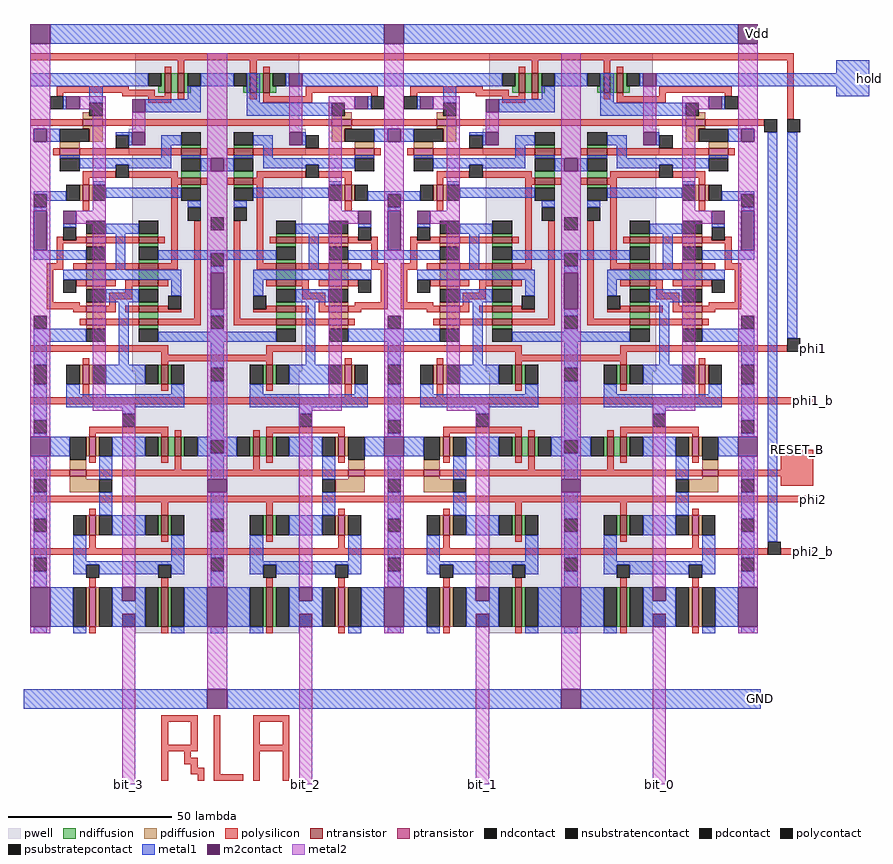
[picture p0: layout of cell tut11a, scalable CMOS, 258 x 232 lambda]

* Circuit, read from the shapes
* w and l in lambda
.subckt tut11a GND RESET_B Vdd bit_0 bit_1 bit_2 bit_3 hold phi1 phi1_b phi2 phi2_b
M1 n1 bit_3/tut11d_0/A GND GND nfet w=6 l=2
M2 n2 bit_3/tut11d_0/B_b n1 GND nfet w=6 l=2
M3 n3 bit_3 n2 GND nfet w=6 l=2
M4 GND bit_3/tut11d_0/A_b n3 GND nfet w=6 l=2
M5 bit_3/tut11d_0/B_b bit_3 GND GND nfet w=6 l=2
M6 GND n4 bit_3 GND nfet w=12 l=2
M7 n4 phi2 n5 GND nfet w=6 l=2
M8 n6 n7 n5 GND nfet w=6 l=2
M9 n7 phi1 n2 GND nfet w=6 l=2
M10 n8 bit_3 n9 GND nfet w=6 l=2
M11 GND RESET_B n6 GND nfet w=6 l=2
M12 n10 phi1 n8 GND nfet w=6 l=2
M13 GND bit_3/tut11d_0/A_b bit_3/tut11d_0/A GND nfet w=6 l=2
M14 bit_3/tut11d_0/A_b n10 GND GND nfet w=6 l=2
M15 GND bit_2/tut11d_0/A_b bit_2/tut11d_0/A GND nfet w=6 l=2
M16 bit_2/tut11d_0/A_b n11 GND GND nfet w=6 l=2
M17 n12 phi1 n10 GND nfet w=6 l=2
M18 n13 RESET_B GND GND nfet w=6 l=2
M19 n11 bit_2 n12 GND nfet w=6 l=2
M20 bit_2 n14 GND GND nfet w=12 l=2
M21 n15 phi2 n14 GND nfet w=6 l=2
M22 n15 n16 n13 GND nfet w=6 l=2
M23 n17 phi1 n16 GND nfet w=6 l=2
M24 n18 bit_2/tut11d_0/A GND GND nfet w=6 l=2
M25 n17 bit_2/tut11d_0/B_b n18 GND nfet w=6 l=2
M26 n19 bit_2 n17 GND nfet w=6 l=2
M27 GND bit_2/tut11d_0/A_b n19 GND nfet w=6 l=2
M28 bit_2/tut11d_0/B_b bit_2 GND GND nfet w=6 l=2
M29 n20 bit_1/tut11d_0/A GND GND nfet w=6 l=2
M30 n21 bit_1/tut11d_0/B_b n20 GND nfet w=6 l=2
M31 n22 bit_1 n21 GND nfet w=6 l=2
M32 GND bit_1/tut11d_0/A_b n22 GND nfet w=6 l=2
M33 bit_1/tut11d_0/B_b bit_1 GND GND nfet w=6 l=2
M34 GND n23 bit_1 GND nfet w=12 l=2
M35 n23 phi2 n24 GND nfet w=6 l=2
M36 n25 n26 n24 GND nfet w=6 l=2
M37 n26 phi1 n21 GND nfet w=6 l=2
M38 n27 bit_1 n11 GND nfet w=6 l=2
M39 GND RESET_B n25 GND nfet w=6 l=2
M40 n28 phi1 n27 GND nfet w=6 l=2
M41 GND bit_1/tut11d_0/A_b bit_1/tut11d_0/A GND nfet w=6 l=2
M42 bit_1/tut11d_0/A_b n28 GND GND nfet w=6 l=2
M43 GND bit_0/tut11d_0/A_b bit_0/tut11d_0/A GND nfet w=6 l=2
M44 bit_0/tut11d_0/A_b hold GND GND nfet w=6 l=2
M45 n29 phi1 n28 GND nfet w=6 l=2
M46 n30 RESET_B GND GND nfet w=6 l=2
M47 hold bit_0 n29 GND nfet w=6 l=2
M48 bit_0 n31 GND GND nfet w=12 l=2
M49 n32 phi2 n31 GND nfet w=6 l=2
M50 n32 n33 n30 GND nfet w=6 l=2
M51 n34 phi1 n33 GND nfet w=6 l=2
M52 n35 bit_0/tut11d_0/A GND GND nfet w=6 l=2
M53 n34 bit_0/tut11d_0/B_b n35 GND nfet w=6 l=2
M54 n36 bit_0 n34 GND nfet w=6 l=2
M55 GND bit_0/tut11d_0/A_b n36 GND nfet w=6 l=2
M56 bit_0/tut11d_0/B_b bit_0 GND GND nfet w=6 l=2
M57 Vdd n10 bit_3/tut11d_0/A_b Vdd pfet w=6 l=2
M58 Vdd RESET_B n5 Vdd pfet w=5 l=2
M59 n2 phi1_b n7 Vdd pfet w=6 l=2
M60 bit_3/tut11d_0/A bit_3/tut11d_0/A_b Vdd Vdd pfet w=5 l=2
M61 n9 phi2_b Vdd Vdd pfet w=6 l=2
M62 n37 bit_3/tut11d_0/A Vdd Vdd pfet w=6 l=2
M63 n2 bit_3 n37 Vdd pfet w=6 l=2
M64 n38 bit_3/tut11d_0/B_b n2 Vdd pfet w=6 l=2
M65 Vdd bit_3/tut11d_0/A_b n38 Vdd pfet w=6 l=2
M66 bit_3/tut11d_0/B_b bit_3 Vdd Vdd pfet w=6 l=2
M67 bit_3 n4 Vdd Vdd pfet w=12 l=2
M68 n5 phi2_b n4 Vdd pfet w=6 l=2
M69 n5 n7 Vdd Vdd pfet w=6 l=2
M70 n39 bit_2/tut11d_0/A Vdd Vdd pfet w=6 l=2
M71 n17 bit_2 n39 Vdd pfet w=6 l=2
M72 n40 bit_2/tut11d_0/B_b n17 Vdd pfet w=6 l=2
M73 Vdd bit_2/tut11d_0/A_b n40 Vdd pfet w=6 l=2
M74 bit_2/tut11d_0/B_b bit_2 Vdd Vdd pfet w=6 l=2
M75 n10 phi2_b Vdd Vdd pfet w=6 l=2
M76 Vdd n14 bit_2 Vdd pfet w=12 l=2
M77 n14 phi2_b n15 Vdd pfet w=6 l=2
M78 Vdd n16 n15 Vdd pfet w=6 l=2
M79 n16 phi1_b n17 Vdd pfet w=6 l=2
M80 Vdd bit_2/tut11d_0/A_b bit_2/tut11d_0/A Vdd pfet w=5 l=2
M81 Vdd RESET_B n15 Vdd pfet w=5 l=2
M82 Vdd n11 bit_2/tut11d_0/A_b Vdd pfet w=6 l=2
M83 Vdd n28 bit_1/tut11d_0/A_b Vdd pfet w=6 l=2
M84 Vdd RESET_B n24 Vdd pfet w=5 l=2
M85 n21 phi1_b n26 Vdd pfet w=6 l=2
M86 bit_1/tut11d_0/A bit_1/tut11d_0/A_b Vdd Vdd pfet w=5 l=2
M87 n11 phi2_b Vdd Vdd pfet w=6 l=2
M88 n41 bit_1/tut11d_0/A Vdd Vdd pfet w=6 l=2
M89 n21 bit_1 n41 Vdd pfet w=6 l=2
M90 n42 bit_1/tut11d_0/B_b n21 Vdd pfet w=6 l=2
M91 Vdd bit_1/tut11d_0/A_b n42 Vdd pfet w=6 l=2
M92 bit_1/tut11d_0/B_b bit_1 Vdd Vdd pfet w=6 l=2
M93 bit_1 n23 Vdd Vdd pfet w=12 l=2
M94 n24 phi2_b n23 Vdd pfet w=6 l=2
M95 n24 n26 Vdd Vdd pfet w=6 l=2
M96 n43 bit_0/tut11d_0/A Vdd Vdd pfet w=6 l=2
M97 n34 bit_0 n43 Vdd pfet w=6 l=2
M98 n44 bit_0/tut11d_0/B_b n34 Vdd pfet w=6 l=2
M99 Vdd bit_0/tut11d_0/A_b n44 Vdd pfet w=6 l=2
M100 bit_0/tut11d_0/B_b bit_0 Vdd Vdd pfet w=6 l=2
M101 n28 phi2_b Vdd Vdd pfet w=6 l=2
M102 Vdd n31 bit_0 Vdd pfet w=12 l=2
M103 n31 phi2_b n32 Vdd pfet w=6 l=2
M104 Vdd n33 n32 Vdd pfet w=6 l=2
M105 n33 phi1_b n34 Vdd pfet w=6 l=2
M106 Vdd bit_0/tut11d_0/A_b bit_0/tut11d_0/A Vdd pfet w=5 l=2
M107 Vdd RESET_B n32 Vdd pfet w=5 l=2
M108 Vdd hold bit_0/tut11d_0/A_b Vdd pfet w=6 l=2
.ends

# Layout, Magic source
magic
tech scmos
<< polysilicon >>
rect 190 -24 201 -22
rect 199 -42 201 -24
rect 190 -44 192 -42
rect 190 -113 199 -111
rect 203 -113 207 -111
rect 190 -129 207 -127
rect 197 -149 207 -143
rect 190 -151 207 -149
rect 197 -154 207 -151
rect 190 -159 207 -157
rect 190 -175 193 -173
rect 197 -175 207 -173
rect 8 -226 19 -224
rect 8 -233 10 -226
rect 17 -233 19 -226
rect 8 -235 19 -233
rect 8 -244 10 -235
rect 15 -237 17 -235
rect 15 -239 19 -237
rect 17 -240 19 -239
rect 17 -242 21 -240
rect 19 -244 21 -242
rect 24 -242 26 -224
rect 36 -226 47 -224
rect 36 -233 38 -226
rect 45 -233 47 -226
rect 36 -235 47 -233
rect 24 -244 33 -242
rect 36 -244 38 -235
rect 45 -244 47 -235
<< metal1 >>
rect -26 -19 76 -13
rect 82 -19 184 -13
rect 214 -28 224 -24
rect 190 -32 224 -28
rect 214 -35 224 -32
rect 193 -171 196 -46
rect 199 -109 202 -46
rect -34 -222 22 -216
rect 28 -222 130 -216
rect 136 -222 191 -216
<< metal2 >>
rect -32 -22 -26 -19
rect 76 -22 82 -19
rect 184 -22 190 -19
rect -4 -245 0 -197
rect 22 -216 28 -199
rect 50 -245 54 -197
rect 104 -245 108 -197
rect 130 -216 136 -199
rect 158 -245 162 -197
<< polycontact >>
rect 192 -46 196 -42
rect 199 -46 203 -42
rect 199 -113 203 -109
rect 193 -175 197 -171
<< m2contact >>
rect -32 -19 -26 -13
rect 76 -19 82 -13
rect 184 -19 190 -13
rect -4 -197 0 -193
rect 50 -197 54 -193
rect 104 -197 108 -193
rect 158 -197 162 -193
rect 22 -222 28 -216
rect 130 -222 136 -216
use tut11c bit_3
transform 0 1 28 -1 0 -62
box -40 -60 137 0
use tut11b bit_2
transform 0 1 82 -1 0 -62
box -40 -60 137 0
use tut11c bit_1
transform 0 1 136 -1 0 -62
box -40 -60 137 0
use tut11b bit_0
transform 0 1 190 -1 0 -62
box -40 -60 137 0
<< labels >>
rlabel metal1 224 -35 224 -24 7 hold
rlabel polysilicon 207 -113 207 -111 7 phi1
rlabel metal1 191 -222 191 -216 1 GND
rlabel m2contact 190 -19 190 -13 5 Vdd
rlabel polysilicon 207 -129 207 -127 7 phi1_b
rlabel polysilicon 207 -159 207 -157 7 phi2
rlabel polysilicon 207 -175 207 -173 7 phi2_b
rlabel metal2 160 -245 160 -245 5 bit_0
rlabel metal2 106 -245 106 -245 5 bit_1
rlabel metal2 52 -245 52 -245 5 bit_2
rlabel metal2 -2 -245 -2 -245 5 bit_3
rlabel polysilicon 202 -143 202 -143 1 RESET_B
<< end >>

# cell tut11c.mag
magic
tech scmos
<< polysilicon >>
rect -40 -13 -38 0
rect -40 -15 -34 -13
rect -28 -15 -26 -13
rect -40 -60 -38 -15
rect -36 -19 -34 -17
rect -28 -19 -25 -17
rect -27 -22 -25 -19
rect -29 -24 -25 -22
rect -29 -30 -27 -24
rect -30 -32 -27 -30
rect -30 -50 -28 -32
rect -20 -38 -18 0
rect -30 -52 -27 -50
rect -20 -60 -18 -44
<< ndiffusion >>
rect -30 -12 -28 -11
rect -34 -13 -28 -12
rect -34 -17 -28 -15
rect -34 -20 -28 -19
rect -30 -21 -28 -20
<< pdiffusion >>
rect -21 -42 -20 -38
rect -22 -44 -20 -42
rect -18 -42 -13 -38
rect -18 -44 -17 -42
<< metal1 >>
rect -34 -8 -30 0
rect -30 -12 -22 -8
rect -34 -38 -30 -24
rect -26 -25 -22 -12
rect -16 -30 -12 -29
rect -16 -34 -15 -30
rect -34 -42 -25 -38
rect -34 -60 -30 -42
rect -27 -50 -23 -49
rect -17 -55 -13 -51
<< metal2 >>
rect -40 -6 -13 0
rect -22 -29 -16 -25
rect -27 -41 -17 -37
rect -27 -45 -23 -41
rect -40 -55 -13 -54
rect -40 -59 -17 -55
rect -40 -60 -13 -59
<< pwell >>
rect -40 -28 -13 0
<< polycontact >>
rect -15 -34 -11 -30
rect -27 -54 -23 -50
<< ndcontact >>
rect -34 -12 -30 -8
rect -34 -24 -30 -20
<< pdcontact >>
rect -25 -42 -21 -38
rect -17 -51 -13 -42
<< m2contact >>
rect -26 -29 -22 -25
rect -16 -29 -12 -25
rect -27 -49 -23 -45
rect -17 -59 -13 -55
<< ntransistor >>
rect -34 -15 -28 -13
rect -34 -19 -28 -17
<< ptransistor >>
rect -20 -44 -18 -38
use tut11d tut11d_0
transform 1 0 0 0 -1 -60
box -17 -60 137 0
<< end >>

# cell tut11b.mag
magic
tech scmos
<< polysilicon >>
rect -40 -45 -38 0
rect -30 -10 -27 -8
rect -30 -28 -28 -10
rect -20 -16 -18 0
rect -30 -30 -25 -28
rect -27 -41 -25 -30
rect -36 -43 -34 -41
rect -28 -43 -25 -41
rect -40 -47 -34 -45
rect -28 -47 -26 -45
rect -40 -60 -38 -47
rect -20 -60 -18 -22
<< ndiffusion >>
rect -30 -40 -28 -39
rect -34 -41 -28 -40
rect -34 -45 -28 -43
rect -34 -48 -28 -47
rect -30 -49 -28 -48
<< pdiffusion >>
rect -22 -18 -20 -16
rect -21 -22 -20 -18
rect -18 -18 -17 -16
rect -18 -22 -13 -18
<< metal1 >>
rect -34 -31 -30 0
rect -27 -11 -23 -10
rect -17 -9 -13 -5
rect -34 -36 -30 -35
rect -25 -44 -21 -22
rect -16 -31 -12 -30
rect -34 -48 -21 -44
rect -34 -60 -30 -52
<< metal2 >>
rect -40 -1 -13 0
rect -40 -5 -17 -1
rect -40 -6 -13 -5
rect -27 -19 -23 -15
rect -27 -23 -17 -19
rect -30 -35 -16 -31
rect -40 -60 -13 -54
<< pwell >>
rect -40 -60 -12 -32
<< polycontact >>
rect -27 -10 -23 -6
rect -15 -30 -11 -26
<< ndcontact >>
rect -34 -40 -30 -36
rect -34 -52 -30 -48
<< pdcontact >>
rect -25 -22 -21 -18
rect -17 -18 -13 -9
<< m2contact >>
rect -17 -5 -13 -1
rect -27 -15 -23 -11
rect -34 -35 -30 -31
rect -16 -35 -12 -31
<< ntransistor >>
rect -34 -43 -28 -41
rect -34 -47 -28 -45
<< ptransistor >>
rect -20 -22 -18 -16
use tut11d tut11d_0
transform 1 0 0 0 1 0
box -17 -60 137 0
<< end >>

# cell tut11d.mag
magic
tech scmos
<< polysilicon >>
rect 24 -7 38 -5
rect -11 -9 -9 -7
rect 24 -8 26 -7
rect 16 -10 26 -8
rect 17 -14 18 -10
rect -11 -46 -9 -15
rect -4 -18 0 -16
rect 5 -18 8 -16
rect 16 -17 18 -14
rect 24 -17 26 -13
rect 36 -13 38 -7
rect 29 -17 31 -14
rect 36 -15 39 -13
rect 37 -17 39 -15
rect 41 -17 43 -15
rect -4 -26 -2 -18
rect -4 -43 -2 -30
rect 16 -33 18 -23
rect 24 -33 26 -23
rect 29 -26 31 -23
rect 37 -24 39 -23
rect 33 -26 39 -24
rect 33 -29 35 -26
rect 29 -31 35 -29
rect 29 -33 31 -31
rect 37 -33 39 -29
rect 41 -33 43 -23
rect 16 -41 18 -39
rect 24 -43 26 -39
rect 29 -42 31 -39
rect 37 -42 39 -39
rect -4 -45 26 -43
rect -2 -46 0 -45
rect 38 -46 39 -42
rect 41 -50 43 -39
rect 49 -40 51 0
rect 65 -16 67 0
rect 87 -12 89 0
rect 53 -18 55 -16
rect 61 -18 67 -16
rect 49 -42 55 -40
rect 61 -42 63 -40
rect 11 -52 43 -50
rect -11 -54 -9 -52
rect -2 -54 0 -52
rect 52 -60 54 -42
rect 65 -60 67 -18
rect 74 -20 77 -18
rect 83 -20 85 -18
rect 74 -40 76 -20
rect 74 -42 77 -40
rect 83 -42 85 -40
rect 87 -44 89 -17
rect 75 -46 77 -44
rect 83 -46 89 -44
rect 87 -60 89 -46
rect 95 -40 97 0
rect 111 -18 113 0
rect 99 -20 101 -18
rect 107 -20 113 -18
rect 95 -42 101 -40
rect 107 -42 109 -40
rect 95 -60 97 -42
rect 111 -60 113 -20
rect 120 -20 123 -18
rect 135 -20 137 -18
rect 120 -42 123 -40
rect 135 -42 137 -40
<< ndiffusion >>
rect 15 -39 16 -33
rect 18 -39 19 -33
rect 23 -39 24 -33
rect 26 -39 29 -33
rect 31 -39 32 -33
rect 36 -39 37 -33
rect 39 -39 41 -33
rect 43 -39 44 -33
rect -12 -52 -11 -46
rect -9 -52 -8 -46
rect -4 -52 -2 -46
rect 0 -52 1 -46
rect 55 -40 61 -39
rect 55 -43 61 -42
rect 77 -40 83 -39
rect 77 -44 83 -42
rect 77 -47 83 -46
rect 101 -40 107 -39
rect 101 -43 107 -42
rect 123 -40 135 -39
rect 123 -43 135 -42
<< pdiffusion >>
rect -13 -15 -11 -9
rect -9 -15 -8 -9
rect 0 -16 5 -15
rect 0 -19 5 -18
rect 15 -23 16 -17
rect 18 -23 19 -17
rect 23 -23 24 -17
rect 26 -23 29 -17
rect 31 -23 32 -17
rect 36 -23 37 -17
rect 39 -23 41 -17
rect 43 -23 44 -17
rect 55 -16 61 -15
rect 84 -17 87 -12
rect 89 -17 94 -12
rect 77 -18 83 -17
rect 55 -19 61 -18
rect 77 -21 83 -20
rect 90 -21 94 -17
rect 101 -18 107 -17
rect 101 -21 107 -20
rect 123 -18 135 -17
rect 123 -21 135 -20
<< metal1 >>
rect -17 -9 -13 -5
rect 2 -5 3 -1
rect 7 -5 8 -1
rect -9 -15 -8 -9
rect 2 -11 5 -5
rect 12 -14 13 -10
rect -8 -26 -5 -15
rect 20 -17 23 -1
rect 44 -5 55 -1
rect 61 -5 72 -1
rect 76 -5 77 -1
rect -1 -23 0 -19
rect -8 -30 -6 -26
rect -8 -40 -5 -30
rect -15 -43 -5 -40
rect -15 -46 -12 -43
rect 1 -46 4 -23
rect 12 -26 15 -23
rect 26 -26 29 -10
rect 44 -17 48 -5
rect 83 -5 90 -1
rect 94 -5 102 -1
rect 106 -5 114 -1
rect 118 -5 123 -1
rect 61 -15 68 -11
rect 12 -29 29 -26
rect 12 -33 15 -29
rect -9 -52 -8 -46
rect 5 -52 7 -48
rect -8 -55 -4 -52
rect 20 -55 23 -39
rect 26 -43 29 -29
rect 32 -27 36 -23
rect 55 -27 61 -23
rect 32 -30 61 -27
rect 32 -33 36 -30
rect 55 -35 61 -30
rect 64 -28 68 -15
rect 77 -12 83 -6
rect 135 -5 137 -1
rect 123 -13 135 -6
rect 107 -17 119 -13
rect 135 -17 137 -13
rect 115 -21 116 -17
rect 83 -25 90 -21
rect 94 -25 101 -21
rect 64 -32 70 -28
rect 26 -46 34 -43
rect 45 -55 48 -39
rect 64 -43 68 -32
rect 77 -35 83 -25
rect 101 -35 107 -25
rect 115 -39 119 -21
rect 123 -28 135 -25
rect 127 -32 135 -28
rect 123 -35 135 -32
rect 115 -43 116 -39
rect 61 -47 68 -43
rect 107 -47 119 -43
rect 135 -47 137 -43
rect 77 -55 83 -51
rect 123 -54 135 -47
rect 20 -59 21 -55
rect 25 -59 27 -55
rect 38 -59 40 -55
rect 44 -59 56 -55
rect 60 -59 78 -55
rect 82 -59 90 -55
rect 94 -59 102 -55
rect 106 -59 114 -55
rect 118 -59 123 -55
rect 135 -59 137 -55
<< metal2 >>
rect -17 -1 77 0
rect -13 -5 8 -1
rect 20 -5 77 -1
rect -17 -6 77 -5
rect 83 -6 123 0
rect 135 -6 137 0
rect 8 -19 12 -14
rect -17 -23 69 -19
rect 65 -28 69 -23
rect 65 -32 123 -28
rect -17 -55 90 -54
rect -17 -59 -8 -55
rect -4 -59 27 -55
rect 38 -59 90 -55
rect -17 -60 90 -59
rect 94 -60 123 -54
rect 135 -60 137 -54
<< pwell >>
rect -17 -31 -9 -30
rect -17 -32 57 -31
rect -17 -60 137 -32
<< polycontact >>
rect 13 -14 17 -10
rect 29 -14 33 -10
rect -6 -30 -2 -26
rect 34 -46 38 -42
rect 7 -52 11 -48
rect 70 -32 74 -28
rect 116 -21 120 -17
rect 116 -43 120 -39
<< ndcontact >>
rect 11 -39 15 -33
rect 19 -39 23 -33
rect 32 -39 36 -33
rect 44 -39 48 -33
rect -16 -52 -12 -46
rect -8 -52 -4 -46
rect 1 -52 5 -46
rect 55 -39 61 -35
rect 55 -47 61 -43
rect 77 -39 83 -35
rect 77 -51 83 -47
rect 101 -39 107 -35
rect 101 -47 107 -43
rect 123 -39 135 -35
rect 123 -47 135 -43
<< pdcontact >>
rect -17 -18 -13 -9
rect -8 -15 -4 -9
rect 0 -15 5 -11
rect 0 -23 5 -19
rect 11 -23 15 -17
rect 19 -23 23 -17
rect 32 -23 36 -17
rect 44 -23 48 -17
rect 55 -15 61 -11
rect 77 -17 84 -12
rect 55 -23 61 -19
rect 77 -25 83 -21
rect 90 -25 94 -21
rect 101 -17 107 -13
rect 123 -17 135 -13
rect 101 -25 107 -21
rect 123 -25 135 -21
<< m2contact >>
rect -17 -5 -13 -1
rect 8 -5 20 -1
rect 8 -14 12 -10
rect 77 -6 83 0
rect 123 -6 135 0
rect 123 -32 127 -28
rect -8 -59 -4 -55
rect 27 -59 38 -55
rect 90 -60 94 -54
rect 123 -60 135 -54
<< ntransistor >>
rect 16 -39 18 -33
rect 24 -39 26 -33
rect 29 -39 31 -33
rect 37 -39 39 -33
rect 41 -39 43 -33
rect -11 -52 -9 -46
rect -2 -52 0 -46
rect 55 -42 61 -40
rect 77 -42 83 -40
rect 77 -46 83 -44
rect 101 -42 107 -40
rect 123 -42 135 -40
<< ptransistor >>
rect -11 -15 -9 -9
rect 0 -18 5 -16
rect 16 -23 18 -17
rect 24 -23 26 -17
rect 29 -23 31 -17
rect 37 -23 39 -17
rect 41 -23 43 -17
rect 55 -18 61 -16
rect 87 -17 89 -12
rect 77 -20 83 -18
rect 101 -20 107 -18
rect 123 -20 135 -18
<< psubstratepcontact >>
rect 10 -59 14 -55
rect 21 -59 25 -55
rect 40 -59 44 -55
rect 56 -59 60 -55
rect 78 -59 82 -55
rect 102 -59 106 -55
rect 114 -59 118 -55
<< nsubstratencontact >>
rect 3 -5 7 -1
rect 40 -5 44 -1
rect 55 -5 61 -1
rect 72 -5 76 -1
rect 90 -5 94 -1
rect 102 -5 106 -1
rect 114 -5 118 -1
<< labels >>
rlabel metal1 129 -30 129 -30 1 Q_out
rlabel polysilicon 112 -53 112 -53 1 phi2_b
rlabel polysilicon 96 -52 96 -52 3 phi2
rlabel polysilicon 88 -52 88 -52 7 reset_b
rlabel polysilicon 66 -53 66 -53 1 phi1_b
rlabel polysilicon 50 -9 50 -9 1 phi1
rlabel polysilicon 66 -9 66 -9 1 phi1_b
rlabel polysilicon 88 -10 88 -10 1 reset_b
rlabel polysilicon 96 -10 96 -10 1 phi2
rlabel polysilicon 112 -10 112 -10 1 phi2_b
rlabel metal2 1 -57 1 -57 3 GND
rlabel metal2 1 -3 1 -3 3 Vdd
rlabel polysilicon 38 -41 38 -41 1 B_b
rlabel polysilicon 42 -41 42 -41 1 A
rlabel polysilicon 30 -41 30 -41 1 B
rlabel polysilicon 25 -41 25 -41 1 A_b
<< end >>
